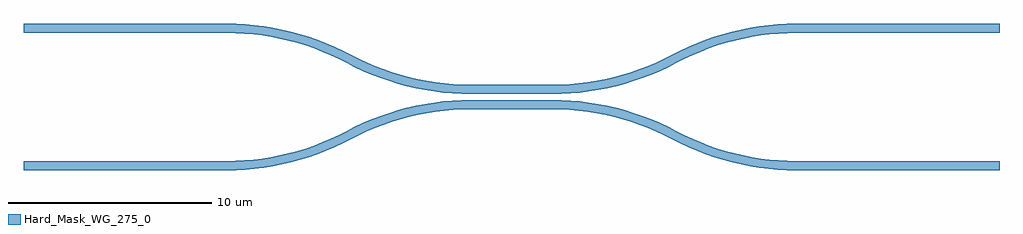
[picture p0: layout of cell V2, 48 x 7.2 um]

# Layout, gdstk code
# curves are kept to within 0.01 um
import gdstk
lib = gdstk.Library(unit=1e-6, precision=1e-09)
def R(c, l, rs):  # rectangles x0, y0, x1, y1
    for r in rs: c.add(gdstk.rectangle(r[:2], r[2:], *l))
def P(c, l, *ps):  # polygons
    for p in ps: c.add(gdstk.Polygon(p, *l))
Hard_Mask_WG_275_0 = (275, 0)

c_v2 = lib.new_cell('V2')
R(c_v2, Hard_Mask_WG_275_0, [(0,0,10,0.45), (38,0,48,0.45), (22,3,26,3.45), (22,3.75,26,4.2), (0,6.75,10,7.2), (38,6.75,48,7.2)])
P(c_v2, Hard_Mask_WG_275_0, [(38,0),(37.545,0.007),(36.64,0.07),(35.741,0.197),(34.853,0.386),(33.981,0.637),(33.128,0.948),(32.298,1.318),(31.894,1.526),(32.106,1.924),(32.894,1.538),(33.706,1.208),(34.12,1.065),(34.962,0.823),(35.819,0.641),(36.687,0.518),(37.562,0.457),(38,0.45)],
  [(31.894,1.526),(31.106,1.912),(30.294,2.242),(29.88,2.385),(29.038,2.627),(28.181,2.809),(27.313,2.932),(26.438,2.993),(26,3),(26,3.45),(26.455,3.443),(27.36,3.38),(28.259,3.253),(29.147,3.064),(30.019,2.813),(30.872,2.502),(31.29,2.324),(32.106,1.924)],
  [(32.106,5.276),(31.894,5.674),(32.709,6.074),(33.127,6.252),(33.98,6.563),(34.853,6.814),(35.741,7.003),(36.641,7.13),(37.546,7.193),(38,7.2),(38,6.75),(37.561,6.743),(36.686,6.682),(35.818,6.559),(34.961,6.377),(34.119,6.134),(33.296,5.834),(32.496,5.476)],
  [(26,3.75),(26,4.2),(26.439,4.207),(27.314,4.268),(28.182,4.391),(29.039,4.573),(29.881,4.816),(30.704,5.116),(31.504,5.474),(31.894,5.674),(32.106,5.276),(31.291,4.876),(30.873,4.698),(30.02,4.387),(29.147,4.136),(28.259,3.947),(27.359,3.82),(26.454,3.757)],
  [(16.106,1.526),(15.894,1.924),(16.709,2.324),(17.127,2.502),(17.98,2.813),(18.853,3.064),(19.741,3.253),(20.641,3.38),(21.546,3.443),(22,3.45),(22,3),(21.561,2.993),(20.686,2.932),(19.818,2.809),(18.961,2.627),(18.119,2.384),(17.296,2.084),(16.496,1.726)],
  [(10,0),(10,0.45),(10.439,0.457),(11.314,0.518),(12.182,0.641),(13.039,0.823),(13.881,1.066),(14.704,1.366),(15.504,1.724),(15.894,1.924),(16.106,1.526),(15.291,1.126),(14.873,0.948),(14.02,0.637),(13.147,0.386),(12.259,0.197),(11.359,0.07),(10.454,0.007)],
  [(22,3.75),(21.545,3.757),(20.64,3.82),(19.741,3.947),(18.853,4.136),(17.981,4.387),(17.128,4.698),(16.298,5.068),(15.894,5.276),(16.106,5.674),(16.894,5.288),(17.706,4.958),(18.12,4.815),(18.962,4.573),(19.819,4.391),(20.687,4.268),(21.562,4.207),(22,4.2)],
  [(15.894,5.276),(15.106,5.662),(14.294,5.992),(13.88,6.135),(13.038,6.377),(12.181,6.559),(11.313,6.682),(10.438,6.743),(10,6.75),(10,7.2),(10.455,7.193),(11.36,7.13),(12.259,7.003),(13.147,6.814),(14.019,6.563),(14.872,6.252),(15.29,6.074),(16.106,5.674)])

lib.write_gds('V2.gds')
